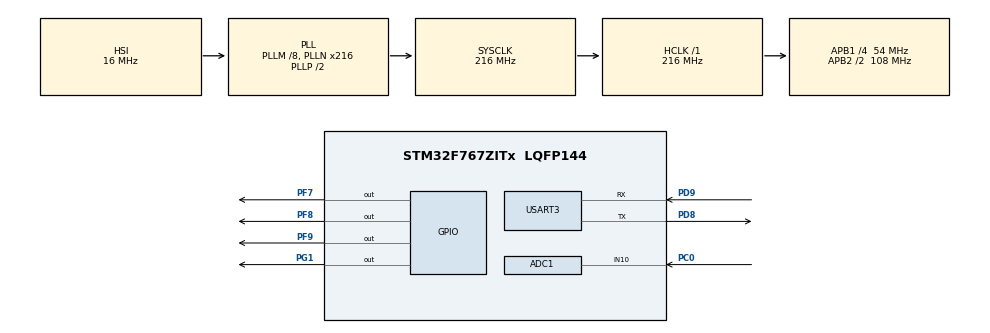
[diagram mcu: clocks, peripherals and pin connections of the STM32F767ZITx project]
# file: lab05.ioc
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ADC1.Channel-0\#ChannelRegularConversion=ADC_CHANNEL_10
ADC1.ContinuousConvMode=ENABLE
ADC1.EOCSelection=ADC_EOC_SEQ_CONV
ADC1.NbrOfConversionFlag=1
ADC1.Rank-0\#ChannelRegularConversion=1
ADC1.SamplingTime-0\#ChannelRegularConversion=ADC_SAMPLETIME_3CYCLES
ADC1.master=1
Mcu.Family=STM32F7
Mcu.Name=STM32F767ZITx
Mcu.Package=LQFP144
NVIC.PriorityGroup=NVIC_PRIORITYGROUP_4
NVIC.USART3_IRQn=true\:0\:0\:false\:false\:true\:true\:true\:true
PC0.Signal=ADCx_IN10
PD8.Mode=Asynchronous
PD8.Signal=USART3_TX
PD9.Mode=Asynchronous
PD9.Signal=USART3_RX
PF7.Signal=GPIO_Output
PF8.Signal=GPIO_Output
PF9.Signal=GPIO_Output
PG1.Signal=GPIO_Output
ProjectManager.HeapSize=0x200
ProjectManager.StackSize=0x400
ProjectManager.TargetToolchain=STM32CubeIDE
RCC.AHBFreq_Value=216000000
RCC.APB1CLKDivider=RCC_HCLK_DIV4
RCC.APB1Freq_Value=54000000
RCC.APB1TimFreq_Value=108000000
RCC.APB2CLKDivider=RCC_HCLK_DIV2
RCC.APB2Freq_Value=108000000
RCC.APB2TimFreq_Value=216000000
RCC.CortexFreq_Value=216000000
RCC.HCLKFreq_Value=216000000
RCC.HSE_VALUE=25000000
RCC.HSI_VALUE=16000000
RCC.LSE_VALUE=32768
RCC.PLLM=8
RCC.PLLN=216
RCC.SYSCLKFreq_VALUE=216000000
RCC.SYSCLKSource=RCC_SYSCLKSOURCE_PLLCLK
RCC.USBFreq_Value=216000000
RCC.VCOOutputFreq_Value=432000000
SH.ADCx_IN10.0=ADC1_IN10,IN10
USART3.VirtualMode-Asynchronous=VM_ASYNC
board=custom

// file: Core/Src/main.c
/* USER CODE BEGIN Header */
/**
  ******************************************************************************
  * @file           : main.c
  * @brief          : Main program body
  ******************************************************************************
  * @attention
  *
  * Copyright (c) 2026 STMicroelectronics.
  * All rights reserved.
  *
  * This software is licensed under terms that can be found in the LICENSE file
  * in the root directory of this software component.
  * If no LICENSE file comes with this software, it is provided AS-IS.
  *
  ******************************************************************************
  */
/* USER CODE END Header */
#include "main.h"
#include "adc.h"
#include "usart.h"
#include "gpio.h"

/* USER CODE BEGIN Includes */
#include <stdio.h>
#include <string.h>
/* USER CODE END Includes */

/* USER CODE BEGIN PV */
volatile int adc_avg_8 = 0;
volatile int adc_avg_16 = 0;
volatile uint32_t adc_val = 0;
/* USER CODE END PV */

void SystemClock_Config(void);
/* USER CODE BEGIN PFP */
void displayHEX(uint32_t num){
    char buffer[20];

    sprintf(buffer, "0x%08lX\r\n", num);

    HAL_UART_Transmit(&huart3, (uint8_t*)buffer, strlen(buffer), 1000);
}

int average_8 (int x){
	static int samples[8];
	static int i = 0;
	static int total = 0;

	/* Update the moving average */
	total += x - samples[i];
	samples[i] = x;

	/* Update the index */
	i = (i == 7 ? 0 : i+1);

	return total>>3;
}

int average_16(int x) {
	static int samples [16];
	static int i = 0;
	static int total = 0;

	/* Update the moving average */
	total += x - samples[i];
	samples[i] = x;

	/* Update the index */
	i = (i == 15 ? 0 : i+1);

	return total>>4;

}
/* USER CODE END PFP */

int main(void)
{

  /* MCU Configuration--------------------------------------------------------*/

  /* Reset of all peripherals, Initializes the Flash interface and the Systick. */
  HAL_Init();

  /* Configure the system clock */
  SystemClock_Config();

  /* Initialize all configured peripherals */
  MX_GPIO_Init();
  MX_ADC1_Init();
  MX_USART3_UART_Init();
  /* USER CODE BEGIN 2 */

  float Vin;
  float Maxim = 3.3/5;
  char buffer[50];

  HAL_ADC_Start(&hadc1);
  /* USER CODE END 2 */

  /* Infinite loop */
  while (1)
  {

    /* USER CODE BEGIN 3 */
	  while (HAL_ADC_PollForConversion(&hadc1, 100) != HAL_OK){}
	  		  adc_val = HAL_ADC_GetValue(&hadc1);
	  		  adc_avg_8 = average_8(adc_val);
	  		  adc_avg_16 = average_16(adc_val);
	  		  displayHEX(adc_val);
	  		  Vin = ((float)adc_val * 3.3f) / 4095.0f;
	  		  if (Vin > Maxim*1){
	  			  HAL_GPIO_WritePin(GPIOF, GPIO_PIN_8, 1);
	  		  }
	  		  else HAL_GPIO_WritePin(GPIOF, GPIO_PIN_8, 0);
	  		  if (Vin > Maxim*2){
	  			  			  HAL_GPIO_WritePin(GPIOF, GPIO_PIN_7, 1);
	  			  		  }
	  			  		  else HAL_GPIO_WritePin(GPIOF, GPIO_PIN_7, 0);
	  		  if (Vin > Maxim*3){
	  			  			  HAL_GPIO_WritePin(GPIOF, GPIO_PIN_9, 1);
	  			  		  }
	  			  		  else HAL_GPIO_WritePin(GPIOF, GPIO_PIN_9, 0);
	  		  if (Vin > Maxim*4){
	  			  			  HAL_GPIO_WritePin(GPIOG, GPIO_PIN_1, 1);
	  			  		  }
	  			  		  else HAL_GPIO_WritePin(GPIOG, GPIO_PIN_1, 0);
	  		  sprintf(buffer, " Vin = %.2f V\r\n", Vin);
	  		  HAL_UART_Transmit(&huart3,(uint8_t *)buffer,strlen(buffer),100);
	  		  HAL_Delay(400);
  }
  /* USER CODE END 3 */
}

void SystemClock_Config(void)
{
  RCC_OscInitTypeDef RCC_OscInitStruct = {0};
  RCC_ClkInitTypeDef RCC_ClkInitStruct = {0};

  /** Configure the main internal regulator output voltage
  */
  __HAL_RCC_PWR_CLK_ENABLE();
  __HAL_PWR_VOLTAGESCALING_CONFIG(PWR_REGULATOR_VOLTAGE_SCALE1);

  /** Initializes the RCC Oscillators according to the specified parameters
  * in the RCC_OscInitTypeDef structure.
  */
  RCC_OscInitStruct.OscillatorType = RCC_OSCILLATORTYPE_HSI;
  RCC_OscInitStruct.HSIState = RCC_HSI_ON;
  RCC_OscInitStruct.HSICalibrationValue = RCC_HSICALIBRATION_DEFAULT;
  RCC_OscInitStruct.PLL.PLLState = RCC_PLL_ON;
  RCC_OscInitStruct.PLL.PLLSource = RCC_PLLSOURCE_HSI;
  RCC_OscInitStruct.PLL.PLLM = 8;
  RCC_OscInitStruct.PLL.PLLN = 216;
  RCC_OscInitStruct.PLL.PLLP = RCC_PLLP_DIV2;
  RCC_OscInitStruct.PLL.PLLQ = 2;
  RCC_OscInitStruct.PLL.PLLR = 2;
  if (HAL_RCC_OscConfig(&RCC_OscInitStruct) != HAL_OK)
  {
    Error_Handler();
  }

  /** Activate the Over-Drive mode
  */
  if (HAL_PWREx_EnableOverDrive() != HAL_OK)
  {
    Error_Handler();
  }

  /** Initializes the CPU, AHB and APB buses clocks
  */
  RCC_ClkInitStruct.ClockType = RCC_CLOCKTYPE_HCLK|RCC_CLOCKTYPE_SYSCLK
                              |RCC_CLOCKTYPE_PCLK1|RCC_CLOCKTYPE_PCLK2;
  RCC_ClkInitStruct.SYSCLKSource = RCC_SYSCLKSOURCE_PLLCLK;
  RCC_ClkInitStruct.AHBCLKDivider = RCC_SYSCLK_DIV1;
  RCC_ClkInitStruct.APB1CLKDivider = RCC_HCLK_DIV4;
  RCC_ClkInitStruct.APB2CLKDivider = RCC_HCLK_DIV2;

  if (HAL_RCC_ClockConfig(&RCC_ClkInitStruct, FLASH_LATENCY_7) != HAL_OK)
  {
    Error_Handler();
  }
}

void Error_Handler(void)
{
  __disable_irq();
  while (1)
  {
  }
}
